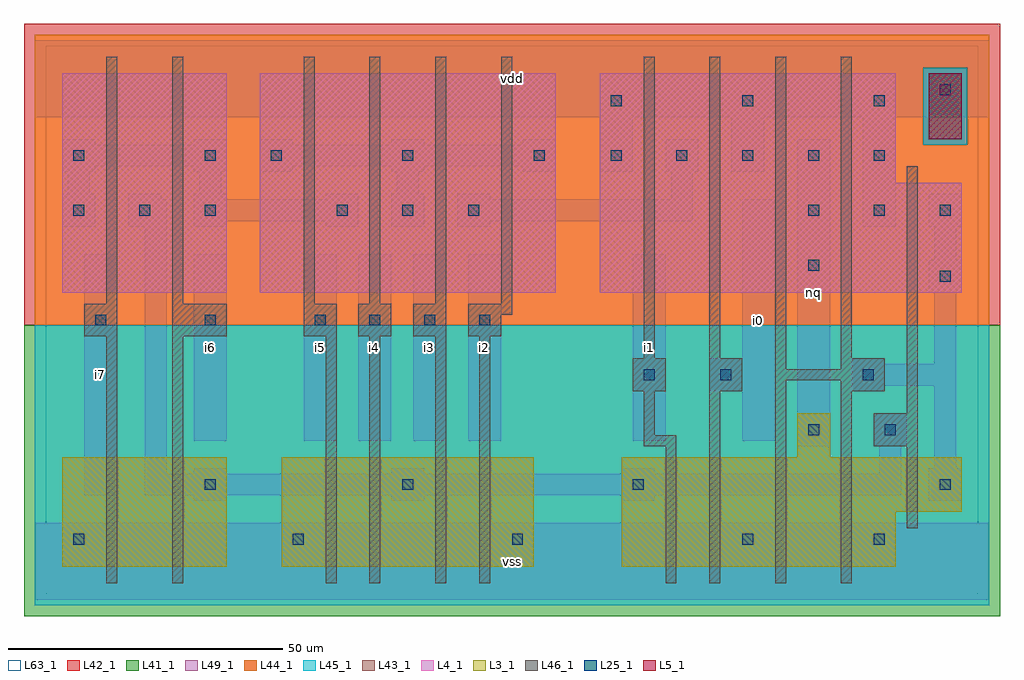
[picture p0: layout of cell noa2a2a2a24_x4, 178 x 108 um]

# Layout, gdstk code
import gdstk
lib = gdstk.Library(unit=1e-6, precision=1e-09)
def R(c, l, rs):  # rectangles x0, y0, x1, y1
    for r in rs: c.add(gdstk.rectangle(r[:2], r[2:], *l))
def A(c, l, x, y, w, h, nx, ny, dx, dy):  # array of equal rectangles
    R(c, l, [(x+i*dx, y+j*dy, x+i*dx+w, y+j*dy+h) for i in range(nx) for j in range(ny)])
L3_1 = (3, 1)
L4_1 = (4, 1)
L5_1 = (5, 1)
L25_1 = (25, 1)
L41_1 = (41, 1)
L42_1 = (42, 1)
L43_1 = (43, 1)
L44_1 = (44, 1)
L45_1 = (45, 1)
L46_1 = (46, 1)
L49_1 = (49, 1)
L63_1 = (63, 1)

noa2a2a2a24_x4 = lib.new_cell('noa2a2a2a24_x4')
R(noa2a2a2a24_x4, L3_1, [(3,5,33,25), (43,5,89,25), (105,5,155,15), (105,15,167,25), (137,25,143,33)])
R(noa2a2a2a24_x4, L4_1, [(3,55,33,95), (39,55,93,95), (101,55,167,75), (101,75,155,95)])
R(noa2a2a2a24_x4, L5_1, [(161,83,167,95)])
A(noa2a2a2a24_x4, L25_1, 5, 9, 2, 2, 3, 1, 40, 0)
A(noa2a2a2a24_x4, L25_1, 9, 49, 2, 2, 3, 1, 20, 0)
A(noa2a2a2a24_x4, L25_1, 59, 49, 2, 2, 3, 1, 10, 0)
A(noa2a2a2a24_x4, L25_1, 5, 69, 2, 2, 3, 1, 12, 0)
A(noa2a2a2a24_x4, L25_1, 53, 69, 2, 2, 3, 1, 12, 0)
A(noa2a2a2a24_x4, L25_1, 139, 69, 2, 2, 3, 1, 12, 0)
A(noa2a2a2a24_x4, L25_1, 41, 79, 2, 2, 3, 1, 24, 0)
A(noa2a2a2a24_x4, L25_1, 103, 79, 2, 2, 5, 1, 12, 0)
A(noa2a2a2a24_x4, L25_1, 103, 89, 2, 2, 3, 1, 24, 0)
R(noa2a2a2a24_x4, L25_1, [(127,9,129,11), (151,9,153,11), (29,19,31,21), (65,19,67,21), (107,19,109,21), (163,19,165,21), (139,29,141,31), (153,29,155,31), (109,39,111,41), (123,39,125,41), (149,39,151,41), (163,57,165,59), (139,59,141,61), (5,79,7,81), (29,79,31,81), (163,91,165,93)])
R(noa2a2a2a24_x4, L41_1, [(-4,-4,174,49)])
R(noa2a2a2a24_x4, L42_1, [(-4,49,174,104)])
R(noa2a2a2a24_x4, L43_1, [(3,5,33,25), (43,5,89,25), (105,5,155,15), (105,15,167,25), (137,25,143,33), (3,55,33,95), (39,55,93,95), (101,55,167,75), (101,75,155,95), (161,83,167,95)])
R(noa2a2a2a24_x4, L44_1, [(-2,49,172,82), (-2,82,160,96), (168,82,172,96), (-2,96,172,102)])
R(noa2a2a2a24_x4, L45_1, [(-2,-2,172,49), (160,82,168,96)])
A(noa2a2a2a24_x4, L46_1, 47, 47, 6, 6, 3, 1, 10, 0)
A(noa2a2a2a24_x4, L46_1, 47, 53, 2, 45, 4, 1, 12, 0)
R(noa2a2a2a24_x4, L46_1, [(11,2,13,47), (23,2,25,47), (51,2,53,47), (59,2,61,47), (71,2,73,47), (79,2,81,47), (113,2,115,27), (121,2,123,37), (133,2,135,39), (145,2,147,37), (157,12,159,27), (109,27,115,29), (151,27,159,33), (109,29,111,37), (157,33,159,78), (107,37,113,43), (121,37,127,43), (145,37,153,39), (133,39,153,41), (133,41,135,98), (145,41,153,43), (109,43,111,98), (121,43,123,98), (145,43,147,98), (7,47,13,53), (23,47,33,53), (77,47,83,51), (77,51,85,53), (11,53,13,98), (23,53,25,98)])
A(noa2a2a2a24_x4, L49_1, 47, 28, 6, 34, 4, 1, 10, 0)
A(noa2a2a2a24_x4, L49_1, 27, 67, 6, 1, 3, 2, 24, 5)
A(noa2a2a2a24_x4, L49_1, 39, 77, 6, 1, 3, 2, 24, 5)
R(noa2a2a2a24_x4, L49_1, [(-2,-1,172,13), (27,17,33,18), (63,17,69,18), (105,17,111,18), (161,17,167,23), (7,18,13,62), (18,18,156,22), (18,22,22,67), (27,22,33,23), (63,22,69,23), (105,22,111,23), (152,22,156,27), (162,23,166,38), (137,27,143,83), (151,27,157,33), (27,28,33,62), (107,28,113,62), (127,28,133,37), (121,37,133,43), (147,37,153,38), (147,38,166,42), (147,42,153,43), (162,42,166,55), (127,43,133,72), (161,55,167,61), (162,61,166,67), (3,67,9,73), (15,67,22,72), (63,67,69,73), (149,67,155,87), (161,67,167,73), (27,68,57,72), (75,68,118,72), (15,72,21,73), (114,72,118,77), (4,73,8,77), (28,73,32,77), (64,73,68,77), (3,77,9,78), (27,77,33,78), (101,77,107,87), (113,77,119,83), (125,77,131,87), (3,78,33,82), (39,78,93,82), (3,82,9,83), (27,82,33,83), (-2,87,172,101)])
R(noa2a2a2a24_x4, L63_1, [(0,0,170,100)])
noa2a2a2a24_x4.add(gdstk.Label('i7', (10,40), layer=49, texttype=1))
noa2a2a2a24_x4.add(gdstk.Label('i7', (10,40), layer=49, texttype=1))
noa2a2a2a24_x4.add(gdstk.Label('i6', (30,45), layer=49, texttype=1))
noa2a2a2a24_x4.add(gdstk.Label('i6', (30,45), layer=49, texttype=1))
noa2a2a2a24_x4.add(gdstk.Label('i4', (60,45), layer=49, texttype=1))
noa2a2a2a24_x4.add(gdstk.Label('i5', (50,45), layer=49, texttype=1))
noa2a2a2a24_x4.add(gdstk.Label('i4', (60,45), layer=49, texttype=1))
noa2a2a2a24_x4.add(gdstk.Label('i5', (50,45), layer=49, texttype=1))
noa2a2a2a24_x4.add(gdstk.Label('vss', (85,6), layer=49, texttype=1))
noa2a2a2a24_x4.add(gdstk.Label('vss', (85,6), layer=49, texttype=1))
noa2a2a2a24_x4.add(gdstk.Label('i3', (70,45), layer=49, texttype=1))
noa2a2a2a24_x4.add(gdstk.Label('i3', (70,45), layer=49, texttype=1))
noa2a2a2a24_x4.add(gdstk.Label('i2', (80,45), layer=49, texttype=1))
noa2a2a2a24_x4.add(gdstk.Label('i2', (80,45), layer=49, texttype=1))
noa2a2a2a24_x4.add(gdstk.Label('vdd', (85,94), layer=49, texttype=1))
noa2a2a2a24_x4.add(gdstk.Label('vdd', (85,94), layer=49, texttype=1))
noa2a2a2a24_x4.add(gdstk.Label('i0', (130,50), layer=49, texttype=1))
noa2a2a2a24_x4.add(gdstk.Label('i1', (110,45), layer=49, texttype=1))
noa2a2a2a24_x4.add(gdstk.Label('i1', (110,45), layer=49, texttype=1))
noa2a2a2a24_x4.add(gdstk.Label('i0', (130,50), layer=49, texttype=1))
noa2a2a2a24_x4.add(gdstk.Label('nq', (140,55), layer=49, texttype=1))
noa2a2a2a24_x4.add(gdstk.Label('nq', (140,55), layer=49, texttype=1))

lib.write_gds('noa2a2a2a24_x4.gds')
